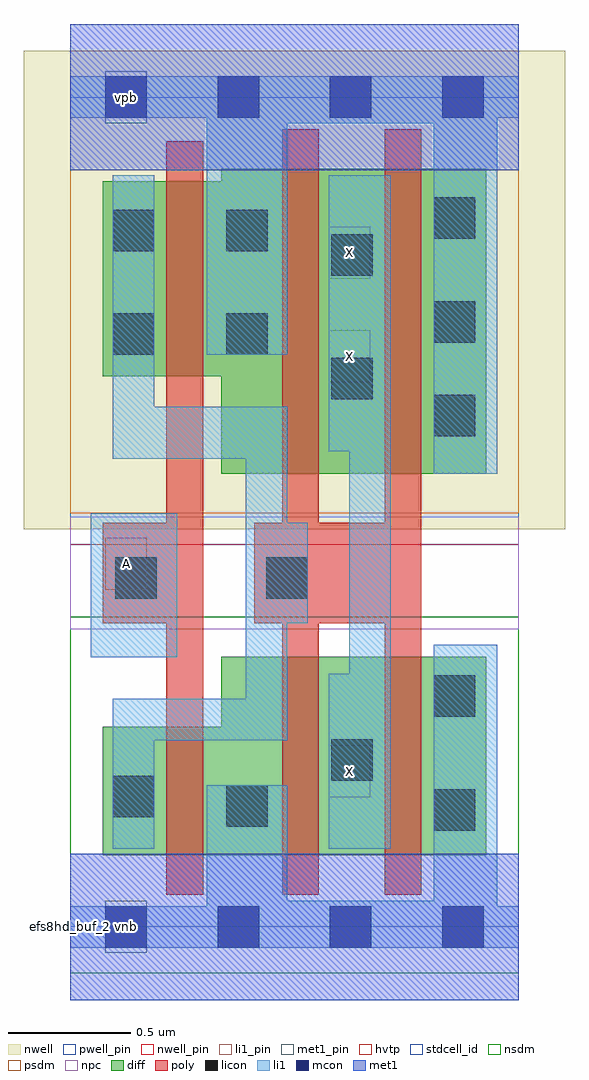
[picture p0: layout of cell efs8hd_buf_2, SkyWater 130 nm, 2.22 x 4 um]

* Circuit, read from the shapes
.subckt efs8hd_buf_2 A X vgnd vnb vpb vpwr
XM1 vgnd A n1 vnb sky130_fd_pr__nfet_01v8 w=0.525 l=0.15
XM2 X n1 vgnd vnb sky130_fd_pr__nfet_01v8 w=0.812 l=0.15 m=2
XM3 vpwr A n1 vpb sky130_fd_pr__pfet_01v8_hvt w=0.8 l=0.15
XM4 X n1 vpwr vpb sky130_fd_pr__pfet_01v8_hvt w=1.25 l=0.15 m=2
.ends

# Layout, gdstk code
import gdstk
lib = gdstk.Library(unit=1e-6, precision=1e-09)
def R(c, l, rs):  # rectangles x0, y0, x1, y1
    for r in rs: c.add(gdstk.rectangle(r[:2], r[2:], *l))
def P(c, l, *ps):  # polygons
    for p in ps: c.add(gdstk.Polygon(p, *l))
nwell_pin = (64, 16)
nwell = (64, 20)
diff = (65, 20)
poly = (66, 20)
licon = (66, 44)
li1_pin = (67, 16)
li1 = (67, 20)
mcon = (67, 44)
met1_pin = (68, 16)
met1 = (68, 20)
hvtp = (78, 44)
stdcell_id = (81, 4)
nsdm = (93, 44)
psdm = (94, 20)
npc = (95, 20)
pwell_pin = (122, 16)

efs8hd_buf_2 = lib.new_cell('efs8hd_buf_2')
R(efs8hd_buf_2, nwell_pin, [(0.145,3.294,0.315,3.506)])
R(efs8hd_buf_2, nwell, [(-0.19,1.63,2.03,3.59)])
P(efs8hd_buf_2, diff, [(0.62,1.106),(0.62,0.819),(0.135,0.819),(0.135,0.294),(1.705,0.294),(1.705,1.106)],
  [(0.62,3.106),(0.62,3.056),(0.135,3.056),(0.135,2.256),(0.62,2.256),(0.62,1.856),(1.705,1.856),(1.705,3.106)])
P(efs8hd_buf_2, poly, [(0.395,3.219),(0.395,1.656),(0.135,1.656),(0.135,1.244),(0.395,1.244),(0.395,0.131),(0.545,0.131),(0.545,3.219)],
  [(1.29,3.269),(1.29,1.656),(1.02,1.656),(1.02,3.269),(0.87,3.269),(0.87,1.656),(0.755,1.656),(0.755,1.244),(0.87,1.244),(0.87,0.131),(1.02,0.131),(1.02,1.244),(1.29,1.244),(1.29,0.131),(1.44,0.131),(1.44,3.269)])
R(efs8hd_buf_2, licon, [(1.49,0.394,1.66,0.564), (0.64,0.411,0.81,0.581), (0.175,0.45,0.345,0.62), (1.07,0.599,1.24,0.769), (1.49,0.861,1.66,1.031), (0.185,1.344,0.355,1.514), (0.805,1.344,0.975,1.514), (1.49,2.011,1.66,2.181), (1.07,2.163,1.24,2.333), (0.175,2.344,0.345,2.514), (0.64,2.344,0.81,2.514), (1.49,2.394,1.66,2.564), (1.07,2.669,1.24,2.839), (0.175,2.769,0.345,2.939), (0.64,2.769,0.81,2.939), (1.49,2.819,1.66,2.989)])
R(efs8hd_buf_2, li1_pin, [(0.145,-0.106,0.315,0.106), (1.06,0.531,1.23,0.744), (0.145,1.381,0.315,1.594), (1.06,2.231,1.23,2.444), (1.06,2.656,1.23,2.869), (0.145,3.294,0.315,3.506)])
R(efs8hd_buf_2, li1, [(0.085,1.105,0.44,1.694)])
P(efs8hd_buf_2, li1, [(1.49,1.156),(1.49,0.106),(0.89,0.106),(0.89,0.581),(0.56,0.581),(0.56,0.085),(0,0.085),(0,-0.085),(1.84,-0.085),(1.84,0.085),(1.75,0.085),(1.75,1.156)],
  [(0.175,3.081),(0.175,1.919),(0.72,1.919),(0.72,0.935),(0.175,0.935),(0.175,0.319),(0.345,0.319),(0.345,0.765),(0.89,0.765),(0.89,1.244),(0.975,1.244),(0.975,1.656),(0.89,1.656),(0.89,2.131),(0.345,2.131),(0.345,3.081)],
  [(1.06,3.081),(1.06,1.95),(1.145,1.95),(1.145,1.038),(1.06,1.038),(1.06,0.319),(1.315,0.319),(1.315,3.081)],
  [(0,3.485),(0,3.315),(0.56,3.315),(0.56,2.344),(0.89,2.344),(0.89,3.294),(1.49,3.294),(1.49,1.856),(1.75,1.856),(1.75,3.315),(1.84,3.315),(1.84,3.485)])
R(efs8hd_buf_2, mcon, [(0.145,-0.085,0.315,0.085), (0.145,-0.085,0.315,0.085), (0.145,-0.085,0.315,0.085), (0.145,-0.085,0.315,0.085), (0.145,-0.085,0.315,0.085), (0.145,-0.085,0.315,0.085), (0.145,-0.085,0.315,0.085), (0.145,-0.085,0.315,0.085), (0.145,-0.085,0.315,0.085), (0.145,-0.085,0.315,0.085), (0.145,-0.085,0.315,0.085), (0.145,-0.085,0.315,0.085), (0.145,-0.085,0.315,0.085), (0.145,-0.085,0.315,0.085), (0.145,-0.085,0.315,0.085), (0.145,-0.085,0.315,0.085), (0.145,-0.085,0.315,0.085), (0.145,-0.085,0.315,0.085), (0.145,-0.085,0.315,0.085), (0.145,-0.085,0.315,0.085), (0.145,-0.085,0.315,0.085), (0.145,-0.085,0.315,0.085), (0.145,-0.085,0.315,0.085), (0.145,-0.085,0.315,0.085), (0.145,-0.085,0.315,0.085), (0.145,-0.085,0.315,0.085), (0.145,-0.085,0.315,0.085), (0.145,-0.085,0.315,0.085), (0.145,-0.085,0.315,0.085), (0.145,-0.085,0.315,0.085), (0.145,-0.085,0.315,0.085), (0.145,-0.085,0.315,0.085), (0.145,-0.085,0.315,0.085), (0.145,-0.085,0.315,0.085), (0.145,-0.085,0.315,0.085), (0.145,-0.085,0.315,0.085), (0.145,-0.085,0.315,0.085), (0.145,-0.085,0.315,0.085), (0.145,-0.085,0.315,0.085), (0.145,-0.085,0.315,0.085), (0.145,-0.085,0.315,0.085), (0.145,-0.085,0.315,0.085), (0.145,-0.085,0.315,0.085), (0.145,-0.085,0.315,0.085), (0.145,-0.085,0.315,0.085), (0.145,-0.085,0.315,0.085), (0.145,-0.085,0.315,0.085), (0.145,-0.085,0.315,0.085), (0.145,-0.085,0.315,0.085), (0.145,-0.085,0.315,0.085), (0.145,-0.085,0.315,0.085), (0.145,-0.085,0.315,0.085), (0.145,-0.085,0.315,0.085), (0.145,-0.085,0.315,0.085), (0.145,-0.085,0.315,0.085), (0.145,-0.085,0.315,0.085), (0.145,-0.085,0.315,0.085), (0.145,-0.085,0.315,0.085), (0.145,-0.085,0.315,0.085), (0.145,-0.085,0.315,0.085), (0.145,-0.085,0.315,0.085), (0.145,-0.085,0.315,0.085), (0.145,-0.085,0.315,0.085), (0.145,-0.085,0.315,0.085), (0.145,-0.085,0.315,0.085), (0.145,-0.085,0.315,0.085), (0.145,-0.085,0.315,0.085), (0.145,-0.085,0.315,0.085), (0.145,-0.085,0.315,0.085), (0.145,-0.085,0.315,0.085), (0.145,-0.085,0.315,0.085), (0.145,-0.085,0.315,0.085), (0.145,-0.085,0.315,0.085), (0.145,-0.085,0.315,0.085), (0.145,-0.085,0.315,0.085), (0.145,-0.085,0.315,0.085), (0.145,-0.085,0.315,0.085), (0.145,-0.085,0.315,0.085), (0.145,-0.085,0.315,0.085), (0.145,-0.085,0.315,0.085), (0.145,-0.085,0.315,0.085), (0.145,-0.085,0.315,0.085), (0.145,-0.085,0.315,0.085), (0.145,-0.085,0.315,0.085), (0.145,-0.085,0.315,0.085), (0.145,-0.085,0.315,0.085), (0.145,-0.085,0.315,0.085), (0.145,-0.085,0.315,0.085), (0.145,-0.085,0.315,0.085), (0.145,-0.085,0.315,0.085), (0.145,-0.085,0.315,0.085), (0.145,-0.085,0.315,0.085), (0.145,-0.085,0.315,0.085), (0.145,-0.085,0.315,0.085), (0.145,-0.085,0.315,0.085), (0.145,-0.085,0.315,0.085), (0.145,-0.085,0.315,0.085), (0.145,-0.085,0.315,0.085), (0.145,-0.085,0.315,0.085), (0.145,-0.085,0.315,0.085), (0.145,-0.085,0.315,0.085), (0.145,-0.085,0.315,0.085), (0.145,-0.085,0.315,0.085), (0.145,-0.085,0.315,0.085), (0.145,-0.085,0.315,0.085), (0.145,-0.085,0.315,0.085), (0.145,-0.085,0.315,0.085), (0.145,-0.085,0.315,0.085), (0.145,-0.085,0.315,0.085), (0.605,-0.085,0.775,0.085), (0.605,-0.085,0.775,0.085), (0.605,-0.085,0.775,0.085), (0.605,-0.085,0.775,0.085), (0.605,-0.085,0.775,0.085), (0.605,-0.085,0.775,0.085), (0.605,-0.085,0.775,0.085), (0.605,-0.085,0.775,0.085), (0.605,-0.085,0.775,0.085), (0.605,-0.085,0.775,0.085), (0.605,-0.085,0.775,0.085), (0.605,-0.085,0.775,0.085), (0.605,-0.085,0.775,0.085), (0.605,-0.085,0.775,0.085), (0.605,-0.085,0.775,0.085), (0.605,-0.085,0.775,0.085), (0.605,-0.085,0.775,0.085), (0.605,-0.085,0.775,0.085), (0.605,-0.085,0.775,0.085), (0.605,-0.085,0.775,0.085), (0.605,-0.085,0.775,0.085), (0.605,-0.085,0.775,0.085), (0.605,-0.085,0.775,0.085), (0.605,-0.085,0.775,0.085), (0.605,-0.085,0.775,0.085), (0.605,-0.085,0.775,0.085), (0.605,-0.085,0.775,0.085), (0.605,-0.085,0.775,0.085), (0.605,-0.085,0.775,0.085), (0.605,-0.085,0.775,0.085), (0.605,-0.085,0.775,0.085), (0.605,-0.085,0.775,0.085), (0.605,-0.085,0.775,0.085), (0.605,-0.085,0.775,0.085), (0.605,-0.085,0.775,0.085), (0.605,-0.085,0.775,0.085), (0.605,-0.085,0.775,0.085), (0.605,-0.085,0.775,0.085), (0.605,-0.085,0.775,0.085), (0.605,-0.085,0.775,0.085), (0.605,-0.085,0.775,0.085), (0.605,-0.085,0.775,0.085), (0.605,-0.085,0.775,0.085), (0.605,-0.085,0.775,0.085), (0.605,-0.085,0.775,0.085), (0.605,-0.085,0.775,0.085), (0.605,-0.085,0.775,0.085), (0.605,-0.085,0.775,0.085), (0.605,-0.085,0.775,0.085), (0.605,-0.085,0.775,0.085), (0.605,-0.085,0.775,0.085), (0.605,-0.085,0.775,0.085), (0.605,-0.085,0.775,0.085), (0.605,-0.085,0.775,0.085), (0.605,-0.085,0.775,0.085), (0.605,-0.085,0.775,0.085), (0.605,-0.085,0.775,0.085), (0.605,-0.085,0.775,0.085), (0.605,-0.085,0.775,0.085), (0.605,-0.085,0.775,0.085), (0.605,-0.085,0.775,0.085), (0.605,-0.085,0.775,0.085), (0.605,-0.085,0.775,0.085), (0.605,-0.085,0.775,0.085), (0.605,-0.085,0.775,0.085), (0.605,-0.085,0.775,0.085), (0.605,-0.085,0.775,0.085), (0.605,-0.085,0.775,0.085), (0.605,-0.085,0.775,0.085), (0.605,-0.085,0.775,0.085), (0.605,-0.085,0.775,0.085), (0.605,-0.085,0.775,0.085), (0.605,-0.085,0.775,0.085), (0.605,-0.085,0.775,0.085), (0.605,-0.085,0.775,0.085), (0.605,-0.085,0.775,0.085), (0.605,-0.085,0.775,0.085), (0.605,-0.085,0.775,0.085), (0.605,-0.085,0.775,0.085), (0.605,-0.085,0.775,0.085), (0.605,-0.085,0.775,0.085), (0.605,-0.085,0.775,0.085), (0.605,-0.085,0.775,0.085), (0.605,-0.085,0.775,0.085), (0.605,-0.085,0.775,0.085), (0.605,-0.085,0.775,0.085), (0.605,-0.085,0.775,0.085), (0.605,-0.085,0.775,0.085), (0.605,-0.085,0.775,0.085), (0.605,-0.085,0.775,0.085), (0.605,-0.085,0.775,0.085), (0.605,-0.085,0.775,0.085), (0.605,-0.085,0.775,0.085), (0.605,-0.085,0.775,0.085), (0.605,-0.085,0.775,0.085), (0.605,-0.085,0.775,0.085), (0.605,-0.085,0.775,0.085), (0.605,-0.085,0.775,0.085), (0.605,-0.085,0.775,0.085), (0.605,-0.085,0.775,0.085), (0.605,-0.085,0.775,0.085), (0.605,-0.085,0.775,0.085), (0.605,-0.085,0.775,0.085), (0.605,-0.085,0.775,0.085), (0.605,-0.085,0.775,0.085), (0.605,-0.085,0.775,0.085), (0.605,-0.085,0.775,0.085), (0.605,-0.085,0.775,0.085), (0.605,-0.085,0.775,0.085), (1.065,-0.085,1.235,0.085), (1.065,-0.085,1.235,0.085), (1.065,-0.085,1.235,0.085), (1.065,-0.085,1.235,0.085), (1.065,-0.085,1.235,0.085), (1.065,-0.085,1.235,0.085), (1.065,-0.085,1.235,0.085), (1.065,-0.085,1.235,0.085), (1.065,-0.085,1.235,0.085), (1.065,-0.085,1.235,0.085), (1.065,-0.085,1.235,0.085), (1.065,-0.085,1.235,0.085), (1.065,-0.085,1.235,0.085), (1.065,-0.085,1.235,0.085), (1.065,-0.085,1.235,0.085), (1.065,-0.085,1.235,0.085), (1.065,-0.085,1.235,0.085), (1.065,-0.085,1.235,0.085), (1.065,-0.085,1.235,0.085), (1.065,-0.085,1.235,0.085), (1.065,-0.085,1.235,0.085), (1.065,-0.085,1.235,0.085), (1.065,-0.085,1.235,0.085), (1.065,-0.085,1.235,0.085), (1.065,-0.085,1.235,0.085), (1.065,-0.085,1.235,0.085), (1.065,-0.085,1.235,0.085), (1.065,-0.085,1.235,0.085), (1.065,-0.085,1.235,0.085), (1.065,-0.085,1.235,0.085), (1.065,-0.085,1.235,0.085), (1.065,-0.085,1.235,0.085), (1.065,-0.085,1.235,0.085), (1.065,-0.085,1.235,0.085), (1.065,-0.085,1.235,0.085), (1.065,-0.085,1.235,0.085), (1.065,-0.085,1.235,0.085), (1.065,-0.085,1.235,0.085), (1.065,-0.085,1.235,0.085), (1.065,-0.085,1.235,0.085), (1.065,-0.085,1.235,0.085), (1.065,-0.085,1.235,0.085), (1.065,-0.085,1.235,0.085), (1.065,-0.085,1.235,0.085), (1.065,-0.085,1.235,0.085), (1.065,-0.085,1.235,0.085), (1.065,-0.085,1.235,0.085), (1.065,-0.085,1.235,0.085), (1.065,-0.085,1.235,0.085), (1.065,-0.085,1.235,0.085), (1.065,-0.085,1.235,0.085), (1.065,-0.085,1.235,0.085), (1.065,-0.085,1.235,0.085), (1.065,-0.085,1.235,0.085), (1.065,-0.085,1.235,0.085), (1.065,-0.085,1.235,0.085), (1.065,-0.085,1.235,0.085), (1.065,-0.085,1.235,0.085), (1.065,-0.085,1.235,0.085), (1.065,-0.085,1.235,0.085), (1.065,-0.085,1.235,0.085), (1.065,-0.085,1.235,0.085), (1.065,-0.085,1.235,0.085), (1.065,-0.085,1.235,0.085), (1.065,-0.085,1.235,0.085), (1.065,-0.085,1.235,0.085), (1.065,-0.085,1.235,0.085), (1.065,-0.085,1.235,0.085), (1.065,-0.085,1.235,0.085), (1.065,-0.085,1.235,0.085), (1.065,-0.085,1.235,0.085), (1.065,-0.085,1.235,0.085), (1.065,-0.085,1.235,0.085), (1.065,-0.085,1.235,0.085), (1.065,-0.085,1.235,0.085), (1.065,-0.085,1.235,0.085), (1.065,-0.085,1.235,0.085), (1.065,-0.085,1.235,0.085), (1.065,-0.085,1.235,0.085), (1.065,-0.085,1.235,0.085), (1.065,-0.085,1.235,0.085), (1.065,-0.085,1.235,0.085), (1.065,-0.085,1.235,0.085), (1.065,-0.085,1.235,0.085), (1.065,-0.085,1.235,0.085), (1.065,-0.085,1.235,0.085), (1.065,-0.085,1.235,0.085), (1.065,-0.085,1.235,0.085), (1.065,-0.085,1.235,0.085), (1.065,-0.085,1.235,0.085), (1.065,-0.085,1.235,0.085), (1.065,-0.085,1.235,0.085), (1.065,-0.085,1.235,0.085), (1.065,-0.085,1.235,0.085), (1.065,-0.085,1.235,0.085), (1.065,-0.085,1.235,0.085), (1.065,-0.085,1.235,0.085), (1.065,-0.085,1.235,0.085), (1.065,-0.085,1.235,0.085), (1.065,-0.085,1.235,0.085), (1.065,-0.085,1.235,0.085), (1.065,-0.085,1.235,0.085), (1.065,-0.085,1.235,0.085), (1.065,-0.085,1.235,0.085), (1.065,-0.085,1.235,0.085), (1.065,-0.085,1.235,0.085), (1.065,-0.085,1.235,0.085), (1.065,-0.085,1.235,0.085), (1.065,-0.085,1.235,0.085), (1.525,-0.085,1.695,0.085), (1.525,-0.085,1.695,0.085), (1.525,-0.085,1.695,0.085), (1.525,-0.085,1.695,0.085), (1.525,-0.085,1.695,0.085), (1.525,-0.085,1.695,0.085), (1.525,-0.085,1.695,0.085), (1.525,-0.085,1.695,0.085), (1.525,-0.085,1.695,0.085), (1.525,-0.085,1.695,0.085), (1.525,-0.085,1.695,0.085), (1.525,-0.085,1.695,0.085), (1.525,-0.085,1.695,0.085), (1.525,-0.085,1.695,0.085), (1.525,-0.085,1.695,0.085), (1.525,-0.085,1.695,0.085), (1.525,-0.085,1.695,0.085), (1.525,-0.085,1.695,0.085), (1.525,-0.085,1.695,0.085), (1.525,-0.085,1.695,0.085), (1.525,-0.085,1.695,0.085), (1.525,-0.085,1.695,0.085), (1.525,-0.085,1.695,0.085), (1.525,-0.085,1.695,0.085), (1.525,-0.085,1.695,0.085), (1.525,-0.085,1.695,0.085), (1.525,-0.085,1.695,0.085), (1.525,-0.085,1.695,0.085), (1.525,-0.085,1.695,0.085), (1.525,-0.085,1.695,0.085), (1.525,-0.085,1.695,0.085), (1.525,-0.085,1.695,0.085), (1.525,-0.085,1.695,0.085), (1.525,-0.085,1.695,0.085), (1.525,-0.085,1.695,0.085), (1.525,-0.085,1.695,0.085), (1.525,-0.085,1.695,0.085), (1.525,-0.085,1.695,0.085), (1.525,-0.085,1.695,0.085), (1.525,-0.085,1.695,0.085), (1.525,-0.085,1.695,0.085), (1.525,-0.085,1.695,0.085), (1.525,-0.085,1.695,0.085), (1.525,-0.085,1.695,0.085), (1.525,-0.085,1.695,0.085), (1.525,-0.085,1.695,0.085), (1.525,-0.085,1.695,0.085), (1.525,-0.085,1.695,0.085), (1.525,-0.085,1.695,0.085), (1.525,-0.085,1.695,0.085), (1.525,-0.085,1.695,0.085), (1.525,-0.085,1.695,0.085), (1.525,-0.085,1.695,0.085), (1.525,-0.085,1.695,0.085), (1.525,-0.085,1.695,0.085), (1.525,-0.085,1.695,0.085), (1.525,-0.085,1.695,0.085), (1.525,-0.085,1.695,0.085), (1.525,-0.085,1.695,0.085), (1.525,-0.085,1.695,0.085), (1.525,-0.085,1.695,0.085), (1.525,-0.085,1.695,0.085), (1.525,-0.085,1.695,0.085), (1.525,-0.085,1.695,0.085), (1.525,-0.085,1.695,0.085), (1.525,-0.085,1.695,0.085), (1.525,-0.085,1.695,0.085), (1.525,-0.085,1.695,0.085), (1.525,-0.085,1.695,0.085), (1.525,-0.085,1.695,0.085), (1.525,-0.085,1.695,0.085), (1.525,-0.085,1.695,0.085), (1.525,-0.085,1.695,0.085), (1.525,-0.085,1.695,0.085), (1.525,-0.085,1.695,0.085), (1.525,-0.085,1.695,0.085), (1.525,-0.085,1.695,0.085), (1.525,-0.085,1.695,0.085), (1.525,-0.085,1.695,0.085), (1.525,-0.085,1.695,0.085), (1.525,-0.085,1.695,0.085), (1.525,-0.085,1.695,0.085), (1.525,-0.085,1.695,0.085), (1.525,-0.085,1.695,0.085), (1.525,-0.085,1.695,0.085), (1.525,-0.085,1.695,0.085), (1.525,-0.085,1.695,0.085), (1.525,-0.085,1.695,0.085), (1.525,-0.085,1.695,0.085), (1.525,-0.085,1.695,0.085), (1.525,-0.085,1.695,0.085), (1.525,-0.085,1.695,0.085), (1.525,-0.085,1.695,0.085), (1.525,-0.085,1.695,0.085), (1.525,-0.085,1.695,0.085), (1.525,-0.085,1.695,0.085), (1.525,-0.085,1.695,0.085), (1.525,-0.085,1.695,0.085), (1.525,-0.085,1.695,0.085), (1.525,-0.085,1.695,0.085), (1.525,-0.085,1.695,0.085), (1.525,-0.085,1.695,0.085), (1.525,-0.085,1.695,0.085), (1.525,-0.085,1.695,0.085), (1.525,-0.085,1.695,0.085), (1.525,-0.085,1.695,0.085), (1.525,-0.085,1.695,0.085), (1.525,-0.085,1.695,0.085), (1.525,-0.085,1.695,0.085), (0.145,3.315,0.315,3.485), (0.145,3.315,0.315,3.485), (0.145,3.315,0.315,3.485), (0.145,3.315,0.315,3.485), (0.145,3.315,0.315,3.485), (0.145,3.315,0.315,3.485), (0.145,3.315,0.315,3.485), (0.145,3.315,0.315,3.485), (0.145,3.315,0.315,3.485), (0.145,3.315,0.315,3.485), (0.145,3.315,0.315,3.485), (0.145,3.315,0.315,3.485), (0.145,3.315,0.315,3.485), (0.145,3.315,0.315,3.485), (0.145,3.315,0.315,3.485), (0.145,3.315,0.315,3.485), (0.145,3.315,0.315,3.485), (0.145,3.315,0.315,3.485), (0.145,3.315,0.315,3.485), (0.145,3.315,0.315,3.485), (0.145,3.315,0.315,3.485), (0.145,3.315,0.315,3.485), (0.145,3.315,0.315,3.485), (0.145,3.315,0.315,3.485), (0.145,3.315,0.315,3.485), (0.145,3.315,0.315,3.485), (0.145,3.315,0.315,3.485), (0.145,3.315,0.315,3.485), (0.145,3.315,0.315,3.485), (0.145,3.315,0.315,3.485), (0.145,3.315,0.315,3.485), (0.145,3.315,0.315,3.485), (0.145,3.315,0.315,3.485), (0.145,3.315,0.315,3.485), (0.145,3.315,0.315,3.485), (0.145,3.315,0.315,3.485), (0.145,3.315,0.315,3.485), (0.145,3.315,0.315,3.485), (0.145,3.315,0.315,3.485), (0.145,3.315,0.315,3.485), (0.145,3.315,0.315,3.485), (0.145,3.315,0.315,3.485), (0.145,3.315,0.315,3.485), (0.145,3.315,0.315,3.485), (0.145,3.315,0.315,3.485), (0.145,3.315,0.315,3.485), (0.145,3.315,0.315,3.485), (0.145,3.315,0.315,3.485), (0.145,3.315,0.315,3.485), (0.145,3.315,0.315,3.485), (0.145,3.315,0.315,3.485), (0.145,3.315,0.315,3.485), (0.145,3.315,0.315,3.485), (0.145,3.315,0.315,3.485), (0.145,3.315,0.315,3.485), (0.145,3.315,0.315,3.485), (0.145,3.315,0.315,3.485), (0.145,3.315,0.315,3.485), (0.145,3.315,0.315,3.485), (0.145,3.315,0.315,3.485), (0.145,3.315,0.315,3.485), (0.145,3.315,0.315,3.485), (0.145,3.315,0.315,3.485), (0.145,3.315,0.315,3.485), (0.145,3.315,0.315,3.485), (0.145,3.315,0.315,3.485), (0.145,3.315,0.315,3.485), (0.145,3.315,0.315,3.485), (0.145,3.315,0.315,3.485), (0.145,3.315,0.315,3.485), (0.145,3.315,0.315,3.485), (0.145,3.315,0.315,3.485), (0.145,3.315,0.315,3.485), (0.145,3.315,0.315,3.485), (0.145,3.315,0.315,3.485), (0.145,3.315,0.315,3.485), (0.145,3.315,0.315,3.485), (0.145,3.315,0.315,3.485), (0.145,3.315,0.315,3.485), (0.145,3.315,0.315,3.485), (0.145,3.315,0.315,3.485), (0.145,3.315,0.315,3.485), (0.145,3.315,0.315,3.485), (0.145,3.315,0.315,3.485), (0.145,3.315,0.315,3.485), (0.145,3.315,0.315,3.485), (0.145,3.315,0.315,3.485), (0.145,3.315,0.315,3.485), (0.145,3.315,0.315,3.485), (0.145,3.315,0.315,3.485), (0.145,3.315,0.315,3.485), (0.145,3.315,0.315,3.485), (0.145,3.315,0.315,3.485), (0.145,3.315,0.315,3.485), (0.145,3.315,0.315,3.485), (0.145,3.315,0.315,3.485), (0.145,3.315,0.315,3.485), (0.145,3.315,0.315,3.485), (0.145,3.315,0.315,3.485), (0.145,3.315,0.315,3.485), (0.145,3.315,0.315,3.485), (0.145,3.315,0.315,3.485), (0.145,3.315,0.315,3.485), (0.145,3.315,0.315,3.485), (0.145,3.315,0.315,3.485), (0.145,3.315,0.315,3.485), (0.145,3.315,0.315,3.485), (0.145,3.315,0.315,3.485), (0.145,3.315,0.315,3.485), (0.605,3.315,0.775,3.485), (0.605,3.315,0.775,3.485), (0.605,3.315,0.775,3.485), (0.605,3.315,0.775,3.485), (0.605,3.315,0.775,3.485), (0.605,3.315,0.775,3.485), (0.605,3.315,0.775,3.485), (0.605,3.315,0.775,3.485), (0.605,3.315,0.775,3.485), (0.605,3.315,0.775,3.485), (0.605,3.315,0.775,3.485), (0.605,3.315,0.775,3.485), (0.605,3.315,0.775,3.485), (0.605,3.315,0.775,3.485), (0.605,3.315,0.775,3.485), (0.605,3.315,0.775,3.485), (0.605,3.315,0.775,3.485), (0.605,3.315,0.775,3.485), (0.605,3.315,0.775,3.485), (0.605,3.315,0.775,3.485), (0.605,3.315,0.775,3.485), (0.605,3.315,0.775,3.485), (0.605,3.315,0.775,3.485), (0.605,3.315,0.775,3.485), (0.605,3.315,0.775,3.485), (0.605,3.315,0.775,3.485), (0.605,3.315,0.775,3.485), (0.605,3.315,0.775,3.485), (0.605,3.315,0.775,3.485), (0.605,3.315,0.775,3.485), (0.605,3.315,0.775,3.485), (0.605,3.315,0.775,3.485), (0.605,3.315,0.775,3.485), (0.605,3.315,0.775,3.485), (0.605,3.315,0.775,3.485), (0.605,3.315,0.775,3.485), (0.605,3.315,0.775,3.485), (0.605,3.315,0.775,3.485), (0.605,3.315,0.775,3.485), (0.605,3.315,0.775,3.485), (0.605,3.315,0.775,3.485), (0.605,3.315,0.775,3.485), (0.605,3.315,0.775,3.485), (0.605,3.315,0.775,3.485), (0.605,3.315,0.775,3.485), (0.605,3.315,0.775,3.485), (0.605,3.315,0.775,3.485), (0.605,3.315,0.775,3.485), (0.605,3.315,0.775,3.485), (0.605,3.315,0.775,3.485), (0.605,3.315,0.775,3.485), (0.605,3.315,0.775,3.485), (0.605,3.315,0.775,3.485), (0.605,3.315,0.775,3.485), (0.605,3.315,0.775,3.485), (0.605,3.315,0.775,3.485), (0.605,3.315,0.775,3.485), (0.605,3.315,0.775,3.485), (0.605,3.315,0.775,3.485), (0.605,3.315,0.775,3.485), (0.605,3.315,0.775,3.485), (0.605,3.315,0.775,3.485), (0.605,3.315,0.775,3.485), (0.605,3.315,0.775,3.485), (0.605,3.315,0.775,3.485), (0.605,3.315,0.775,3.485), (0.605,3.315,0.775,3.485), (0.605,3.315,0.775,3.485), (0.605,3.315,0.775,3.485), (0.605,3.315,0.775,3.485), (0.605,3.315,0.775,3.485), (0.605,3.315,0.775,3.485), (0.605,3.315,0.775,3.485), (0.605,3.315,0.775,3.485), (0.605,3.315,0.775,3.485), (0.605,3.315,0.775,3.485), (0.605,3.315,0.775,3.485), (0.605,3.315,0.775,3.485), (0.605,3.315,0.775,3.485), (0.605,3.315,0.775,3.485), (0.605,3.315,0.775,3.485), (0.605,3.315,0.775,3.485), (0.605,3.315,0.775,3.485), (0.605,3.315,0.775,3.485), (0.605,3.315,0.775,3.485), (0.605,3.315,0.775,3.485), (0.605,3.315,0.775,3.485), (0.605,3.315,0.775,3.485), (0.605,3.315,0.775,3.485), (0.605,3.315,0.775,3.485), (0.605,3.315,0.775,3.485), (0.605,3.315,0.775,3.485), (0.605,3.315,0.775,3.485), (0.605,3.315,0.775,3.485), (0.605,3.315,0.775,3.485), (0.605,3.315,0.775,3.485), (0.605,3.315,0.775,3.485), (0.605,3.315,0.775,3.485), (0.605,3.315,0.775,3.485), (0.605,3.315,0.775,3.485), (0.605,3.315,0.775,3.485), (0.605,3.315,0.775,3.485), (0.605,3.315,0.775,3.485), (0.605,3.315,0.775,3.485), (0.605,3.315,0.775,3.485), (0.605,3.315,0.775,3.485), (0.605,3.315,0.775,3.485), (0.605,3.315,0.775,3.485), (0.605,3.315,0.775,3.485), (1.065,3.315,1.235,3.485), (1.065,3.315,1.235,3.485), (1.065,3.315,1.235,3.485), (1.065,3.315,1.235,3.485), (1.065,3.315,1.235,3.485), (1.065,3.315,1.235,3.485), (1.065,3.315,1.235,3.485), (1.065,3.315,1.235,3.485), (1.065,3.315,1.235,3.485), (1.065,3.315,1.235,3.485), (1.065,3.315,1.235,3.485), (1.065,3.315,1.235,3.485), (1.065,3.315,1.235,3.485), (1.065,3.315,1.235,3.485), (1.065,3.315,1.235,3.485), (1.065,3.315,1.235,3.485), (1.065,3.315,1.235,3.485), (1.065,3.315,1.235,3.485), (1.065,3.315,1.235,3.485), (1.065,3.315,1.235,3.485), (1.065,3.315,1.235,3.485), (1.065,3.315,1.235,3.485), (1.065,3.315,1.235,3.485), (1.065,3.315,1.235,3.485), (1.065,3.315,1.235,3.485), (1.065,3.315,1.235,3.485), (1.065,3.315,1.235,3.485), (1.065,3.315,1.235,3.485), (1.065,3.315,1.235,3.485), (1.065,3.315,1.235,3.485), (1.065,3.315,1.235,3.485), (1.065,3.315,1.235,3.485), (1.065,3.315,1.235,3.485), (1.065,3.315,1.235,3.485), (1.065,3.315,1.235,3.485), (1.065,3.315,1.235,3.485), (1.065,3.315,1.235,3.485), (1.065,3.315,1.235,3.485), (1.065,3.315,1.235,3.485), (1.065,3.315,1.235,3.485), (1.065,3.315,1.235,3.485), (1.065,3.315,1.235,3.485), (1.065,3.315,1.235,3.485), (1.065,3.315,1.235,3.485), (1.065,3.315,1.235,3.485), (1.065,3.315,1.235,3.485), (1.065,3.315,1.235,3.485), (1.065,3.315,1.235,3.485), (1.065,3.315,1.235,3.485), (1.065,3.315,1.235,3.485), (1.065,3.315,1.235,3.485), (1.065,3.315,1.235,3.485), (1.065,3.315,1.235,3.485), (1.065,3.315,1.235,3.485), (1.065,3.315,1.235,3.485), (1.065,3.315,1.235,3.485), (1.065,3.315,1.235,3.485), (1.065,3.315,1.235,3.485), (1.065,3.315,1.235,3.485), (1.065,3.315,1.235,3.485), (1.065,3.315,1.235,3.485), (1.065,3.315,1.235,3.485), (1.065,3.315,1.235,3.485), (1.065,3.315,1.235,3.485), (1.065,3.315,1.235,3.485), (1.065,3.315,1.235,3.485), (1.065,3.315,1.235,3.485), (1.065,3.315,1.235,3.485), (1.065,3.315,1.235,3.485), (1.065,3.315,1.235,3.485), (1.065,3.315,1.235,3.485), (1.065,3.315,1.235,3.485), (1.065,3.315,1.235,3.485), (1.065,3.315,1.235,3.485), (1.065,3.315,1.235,3.485), (1.065,3.315,1.235,3.485), (1.065,3.315,1.235,3.485), (1.065,3.315,1.235,3.485), (1.065,3.315,1.235,3.485), (1.065,3.315,1.235,3.485), (1.065,3.315,1.235,3.485), (1.065,3.315,1.235,3.485), (1.065,3.315,1.235,3.485), (1.065,3.315,1.235,3.485), (1.065,3.315,1.235,3.485), (1.065,3.315,1.235,3.485), (1.065,3.315,1.235,3.485), (1.065,3.315,1.235,3.485), (1.065,3.315,1.235,3.485), (1.065,3.315,1.235,3.485), (1.065,3.315,1.235,3.485), (1.065,3.315,1.235,3.485), (1.065,3.315,1.235,3.485), (1.065,3.315,1.235,3.485), (1.065,3.315,1.235,3.485), (1.065,3.315,1.235,3.485), (1.065,3.315,1.235,3.485), (1.065,3.315,1.235,3.485), (1.065,3.315,1.235,3.485), (1.065,3.315,1.235,3.485), (1.065,3.315,1.235,3.485), (1.065,3.315,1.235,3.485), (1.065,3.315,1.235,3.485), (1.065,3.315,1.235,3.485), (1.065,3.315,1.235,3.485), (1.065,3.315,1.235,3.485), (1.065,3.315,1.235,3.485), (1.065,3.315,1.235,3.485), (1.065,3.315,1.235,3.485), (1.525,3.315,1.695,3.485), (1.525,3.315,1.695,3.485), (1.525,3.315,1.695,3.485), (1.525,3.315,1.695,3.485), (1.525,3.315,1.695,3.485), (1.525,3.315,1.695,3.485), (1.525,3.315,1.695,3.485), (1.525,3.315,1.695,3.485), (1.525,3.315,1.695,3.485), (1.525,3.315,1.695,3.485), (1.525,3.315,1.695,3.485), (1.525,3.315,1.695,3.485), (1.525,3.315,1.695,3.485), (1.525,3.315,1.695,3.485), (1.525,3.315,1.695,3.485), (1.525,3.315,1.695,3.485), (1.525,3.315,1.695,3.485), (1.525,3.315,1.695,3.485), (1.525,3.315,1.695,3.485), (1.525,3.315,1.695,3.485), (1.525,3.315,1.695,3.485), (1.525,3.315,1.695,3.485), (1.525,3.315,1.695,3.485), (1.525,3.315,1.695,3.485), (1.525,3.315,1.695,3.485), (1.525,3.315,1.695,3.485), (1.525,3.315,1.695,3.485), (1.525,3.315,1.695,3.485), (1.525,3.315,1.695,3.485), (1.525,3.315,1.695,3.485), (1.525,3.315,1.695,3.485), (1.525,3.315,1.695,3.485), (1.525,3.315,1.695,3.485), (1.525,3.315,1.695,3.485), (1.525,3.315,1.695,3.485), (1.525,3.315,1.695,3.485), (1.525,3.315,1.695,3.485), (1.525,3.315,1.695,3.485), (1.525,3.315,1.695,3.485), (1.525,3.315,1.695,3.485), (1.525,3.315,1.695,3.485), (1.525,3.315,1.695,3.485), (1.525,3.315,1.695,3.485), (1.525,3.315,1.695,3.485), (1.525,3.315,1.695,3.485), (1.525,3.315,1.695,3.485), (1.525,3.315,1.695,3.485), (1.525,3.315,1.695,3.485), (1.525,3.315,1.695,3.485), (1.525,3.315,1.695,3.485), (1.525,3.315,1.695,3.485), (1.525,3.315,1.695,3.485), (1.525,3.315,1.695,3.485), (1.525,3.315,1.695,3.485), (1.525,3.315,1.695,3.485), (1.525,3.315,1.695,3.485), (1.525,3.315,1.695,3.485), (1.525,3.315,1.695,3.485), (1.525,3.315,1.695,3.485), (1.525,3.315,1.695,3.485), (1.525,3.315,1.695,3.485), (1.525,3.315,1.695,3.485), (1.525,3.315,1.695,3.485), (1.525,3.315,1.695,3.485), (1.525,3.315,1.695,3.485), (1.525,3.315,1.695,3.485), (1.525,3.315,1.695,3.485), (1.525,3.315,1.695,3.485), (1.525,3.315,1.695,3.485), (1.525,3.315,1.695,3.485), (1.525,3.315,1.695,3.485), (1.525,3.315,1.695,3.485), (1.525,3.315,1.695,3.485), (1.525,3.315,1.695,3.485), (1.525,3.315,1.695,3.485), (1.525,3.315,1.695,3.485), (1.525,3.315,1.695,3.485), (1.525,3.315,1.695,3.485), (1.525,3.315,1.695,3.485), (1.525,3.315,1.695,3.485), (1.525,3.315,1.695,3.485), (1.525,3.315,1.695,3.485), (1.525,3.315,1.695,3.485), (1.525,3.315,1.695,3.485), (1.525,3.315,1.695,3.485), (1.525,3.315,1.695,3.485), (1.525,3.315,1.695,3.485), (1.525,3.315,1.695,3.485), (1.525,3.315,1.695,3.485), (1.525,3.315,1.695,3.485), (1.525,3.315,1.695,3.485), (1.525,3.315,1.695,3.485), (1.525,3.315,1.695,3.485), (1.525,3.315,1.695,3.485), (1.525,3.315,1.695,3.485), (1.525,3.315,1.695,3.485), (1.525,3.315,1.695,3.485), (1.525,3.315,1.695,3.485), (1.525,3.315,1.695,3.485), (1.525,3.315,1.695,3.485), (1.525,3.315,1.695,3.485), (1.525,3.315,1.695,3.485), (1.525,3.315,1.695,3.485), (1.525,3.315,1.695,3.485), (1.525,3.315,1.695,3.485), (1.525,3.315,1.695,3.485), (1.525,3.315,1.695,3.485), (1.525,3.315,1.695,3.485), (1.525,3.315,1.695,3.485)])
R(efs8hd_buf_2, met1_pin, [(0.145,-0.106,0.315,0.106), (0.145,3.294,0.315,3.506)])
R(efs8hd_buf_2, met1, [(0,-0.3,1.84,0.3), (0,3.1,1.84,3.7)])
R(efs8hd_buf_2, hvtp, [(0,1.565,1.84,3.4)])
R(efs8hd_buf_2, stdcell_id, [(0,0,1.84,3.4)])
R(efs8hd_buf_2, nsdm, [(0,-0.19,1.84,1.27)])
R(efs8hd_buf_2, psdm, [(0,1.695,1.84,3.59)])
R(efs8hd_buf_2, npc, [(0,1.22,1.84,1.68)])
R(efs8hd_buf_2, pwell_pin, [(0.145,-0.106,0.315,0.106)])
efs8hd_buf_2.add(gdstk.Label('vnb', (0.23,0), layer=64, texttype=59))
efs8hd_buf_2.add(gdstk.Label('efs8hd_buf_2', (0,0), layer=83, texttype=44))
efs8hd_buf_2.add(gdstk.Label('vpb', (0.23,3.4), layer=64, texttype=5))
efs8hd_buf_2.add(gdstk.Label('vgnd', (0.23,0), layer=67, texttype=5))
efs8hd_buf_2.add(gdstk.Label('X', (1.145,0.638), layer=67, texttype=5))
efs8hd_buf_2.add(gdstk.Label('A', (0.23,1.488), layer=67, texttype=5))
efs8hd_buf_2.add(gdstk.Label('X', (1.145,2.338), layer=67, texttype=5))
efs8hd_buf_2.add(gdstk.Label('X', (1.145,2.763), layer=67, texttype=5))
efs8hd_buf_2.add(gdstk.Label('vpwr', (0.23,3.4), layer=67, texttype=5))
efs8hd_buf_2.add(gdstk.Label('vgnd', (0.23,0), layer=68, texttype=5))
efs8hd_buf_2.add(gdstk.Label('vpwr', (0.23,3.4), layer=68, texttype=5))

lib.write_gds('efs8hd_buf_2.gds')
